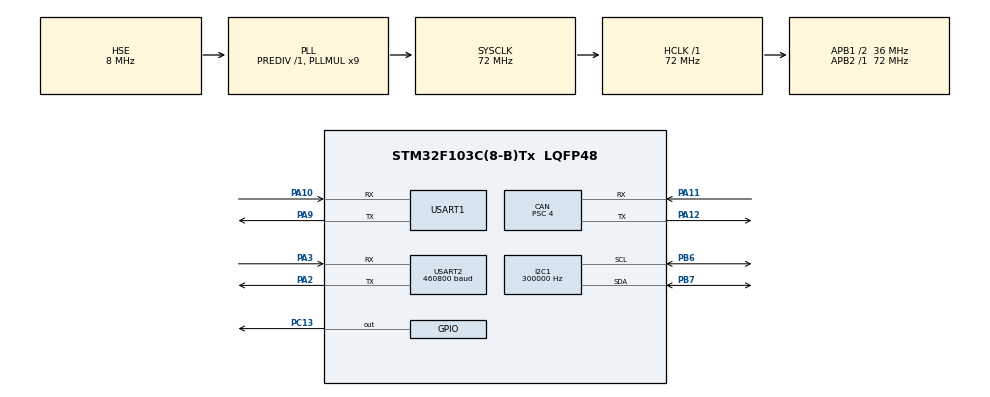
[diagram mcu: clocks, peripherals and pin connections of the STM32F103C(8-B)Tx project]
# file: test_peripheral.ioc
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CAN.BS1=CAN_BS1_15TQ
CAN.BS2=CAN_BS2_2TQ
CAN.CalculateBaudRate=500000
CAN.CalculateTimeBit=2000
CAN.CalculateTimeQuantum=111.11111111111111
CAN.Mode=CAN_MODE_NORMAL
CAN.NART=DISABLE
CAN.Prescaler=4
I2C1.ClockSpeed=300000
I2C1.I2C_Mode=I2C_Fast
Mcu.Family=STM32F1
Mcu.Name=STM32F103C(8-B)Tx
Mcu.Package=LQFP48
NVIC.CAN1_RX1_IRQn=true\:0\:0\:false\:false\:true\:true\:true\:true
NVIC.I2C1_EV_IRQn=true\:0\:0\:false\:false\:true\:true\:true\:true
NVIC.PriorityGroup=NVIC_PRIORITYGROUP_4
NVIC.USART1_IRQn=true\:14\:0\:true\:false\:true\:true\:true\:true
NVIC.USART2_IRQn=true\:0\:0\:false\:false\:true\:true\:true\:true
PA10.Mode=Asynchronous
PA10.Signal=USART1_RX
PA11.GPIO_PuPd=GPIO_NOPULL
PA11.Mode=CAN_Activate
PA11.Signal=CAN_RX
PA12.Mode=CAN_Activate
PA12.Signal=CAN_TX
PA13.Mode=Trace_Asynchronous_SW
PA13.Signal=SYS_JTMS-SWDIO
PA14.Mode=Trace_Asynchronous_SW
PA14.Signal=SYS_JTCK-SWCLK
PA2.Mode=Asynchronous
PA2.Signal=USART2_TX
PA3.Mode=Asynchronous
PA3.Signal=USART2_RX
PA9.Mode=Asynchronous
PA9.Signal=USART1_TX
PB3.Mode=Trace_Asynchronous_SW
PB3.Signal=SYS_JTDO-TRACESWO
PB6.Mode=I2C
PB6.Signal=I2C1_SCL
PB7.Mode=I2C
PB7.Signal=I2C1_SDA
PC13-TAMPER-RTC.GPIO_Speed=GPIO_SPEED_FREQ_MEDIUM
PC13-TAMPER-RTC.Signal=GPIO_Output
PD0-OSC_IN.Mode=HSE-External-Oscillator
PD0-OSC_IN.Signal=RCC_OSC_IN
PD1-OSC_OUT.Mode=HSE-External-Oscillator
PD1-OSC_OUT.Signal=RCC_OSC_OUT
ProjectManager.HeapSize=0x200
ProjectManager.StackSize=0x400
ProjectManager.TargetToolchain=STM32CubeIDE
RCC.AHBFreq_Value=72000000
RCC.APB1CLKDivider=RCC_HCLK_DIV2
RCC.APB1Freq_Value=36000000
RCC.APB1TimFreq_Value=72000000
RCC.APB2Freq_Value=72000000
RCC.APB2TimFreq_Value=72000000
RCC.HCLKFreq_Value=72000000
RCC.PLLMUL=RCC_PLL_MUL9
RCC.PLLSourceVirtual=RCC_PLLSOURCE_HSE
RCC.SYSCLKFreq_VALUE=72000000
RCC.SYSCLKSource=RCC_SYSCLKSOURCE_PLLCLK
RCC.USBFreq_Value=72000000
USART1.VirtualMode=VM_ASYNC
USART2.BaudRate=460800
USART2.VirtualMode=VM_ASYNC
board=custom

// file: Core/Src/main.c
/* USER CODE BEGIN Header */
/**
  ******************************************************************************
  * @file           : main.c
  * @brief          : Main program body
  ******************************************************************************
  * @attention
  *
  * Copyright (c) 2025 STMicroelectronics.
  * All rights reserved.
  *
  * This software is licensed under terms that can be found in the LICENSE file
  * in the root directory of this software component.
  * If no LICENSE file comes with this software, it is provided AS-IS.
  *
  ******************************************************************************
  */
/* USER CODE END Header */
#include "main.h"

/* USER CODE BEGIN Includes */
#include "stdio.h"
#include "../../app/Screen.h"

#include "../../lib/AT24Cxx.h"
#include "../../os/os.h"

#include "../../app/app_main.h"

/* USER CODE END Includes */

CAN_HandleTypeDef hcan;

I2C_HandleTypeDef hi2c1;

UART_HandleTypeDef huart1;
UART_HandleTypeDef huart2;

/* USER CODE BEGIN PV */

CAN_TxHeaderTypeDef TxHeader;
CAN_RxHeaderTypeDef RxHeader;

uint8_t TxData[8];
uint8_t RxData[8];

uint32_t TxMailbox;

uint8_t dataRX[100];
uint8_t data_output[20] ={0};
char *data_test[] = {
  "$4053"                // NAME
  "Description"          // Description
  "16"                   // Num pin
  "16"                   // Num case
  "11L1100G0001011V",
  "11L1100G0011101V",
  "11L1100G0101110V",
  "11L1100G0110111V",
  "01L1100G1001111V",
  "11L1000G1011111V",
  "10L1100G1101111V",
  "11L0100G1111111V"
};

/* USER CODE END PV */

void SystemClock_Config(void);
static void MX_GPIO_Init(void);
static void MX_USART2_UART_Init(void);
static void MX_I2C1_Init(void);
static void MX_USART1_UART_Init(void);
static void MX_CAN_Init(void);

int main(void)
{

  /* MCU Configuration--------------------------------------------------------*/

  /* Reset of all peripherals, Initializes the Flash interface and the Systick. */
  HAL_Init();

  /* Configure the system clock */
  SystemClock_Config();

  /* Initialize all configured peripherals */
  MX_GPIO_Init();
  MX_USART2_UART_Init();
  MX_I2C1_Init();
  MX_USART1_UART_Init();
  MX_CAN_Init();
  /* USER CODE BEGIN 2 */

  HAL_Delay(3000);
  HAL_UARTEx_ReceiveToIdle_IT(&huart2, dataRX, sizeof(dataRX)); // Enable interrupt UART

  Screen_begin(&huart2);

//  HAL_I2C_IsDeviceReady(&hi2c1,0x50 << 1, 1, 100);

//  uint8_t test_eeprom_buf[500] = {0};
//  uint8_t test_write_eeprom_buf[10] = {1,2,3,4,5,6,7,8,9,10};
  AT24Cxx_t pEeprom;
  AT24Cxx_Init(&pEeprom, 0x50, &hi2c1);
//  char text_program_1[] = "0";
//  char *text_program_2 = "Program test2,74hc560,20";
//  char *text_program_3 = "Program test3,74hc580,40";
//  char *text_program_4 = "Program test4,74hc590,50";
//  AT24Cxx_read_buffer(&pEeprom,0x10,test_eeprom_buf,10);
//  HAL_I2C_Mem_Write_IT(&hi2c1,(0x50 << 1),0x02,I2C_MEMADD_SIZE_16BIT,text_program_1,strlen(text_program_1));
//  char clear_buf[TOTAL_ALL_PROGRAM_TEST_LEN] = {0};
//  memset(clear_buf,0xFF,TOTAL_ALL_PROGRAM_TEST_LEN);
  // AT24Cxx_write_buffer_bloking(&pEeprom,START_MEM_ADDR_PROGRAM_TEST,(uint8_t *)clear_buf,TOTAL_ALL_PROGRAM_TEST_LEN);
  // AT24Cxx_write_buffer(&pEeprom,START_ADDR_PROGRAM_TEST_X(0),test_write_eeprom_buf,10);
  //  HAL_Delay(10);
//  AT24Cxx_read_buffer(&pEeprom,START_ADDR_PROGRAM_TEST_X(0),test_eeprom_buf,TOTAL_ONE_PROGRAM_TEST_LEN);
  // AT24Cxx_read_buffer(&pEeprom,START_MEM_ADDR_PROGRAM_TEST,test_eeprom_buf,TOTAL_ALL_PROGRAM_TEST_LEN);
  // AT24Cxx_write_buffer_bloking(&pEeprom,START_ADDR_PROGRAM_TEST_X(0),(uint8_t *)text_program_1,strlen(text_program_1));
  // HAL_Delay(10);
  // AT24Cxx_read_buffer(&pEeprom,START_MEM_ADDR_PROGRAM_TEST,test_eeprom_buf,TOTAL_ALL_PROGRAM_TEST_LEN);
  // AT24Cxx_write_buffer_bloking(&pEeprom,START_ADDR_PROGRAM_TEST_X(1),(uint8_t *)text_program_2,strlen(text_program_2));
  // HAL_Delay(10);
  // AT24Cxx_read_buffer(&pEeprom,START_MEM_ADDR_PROGRAM_TEST,test_eeprom_buf,TOTAL_ALL_PROGRAM_TEST_LEN);
  // AT24Cxx_write_buffer_bloking(&pEeprom,START_ADDR_PROGRAM_TEST_X(2),(uint8_t *)text_program_3,strlen(text_program_3));
  // HAL_Delay(10);
  // AT24Cxx_read_buffer(&pEeprom,START_MEM_ADDR_PROGRAM_TEST,test_eeprom_buf,TOTAL_ALL_PROGRAM_TEST_LEN);
  // AT24Cxx_write_buffer_bloking(&pEeprom,START_ADDR_PROGRAM_TEST_X(3),(uint8_t *)text_program_4,strlen(text_program_4));
  // HAL_Delay(10);
  // AT24Cxx_write_buffer(&pEeprom,0x02,(uint8_t *)text_program_1,strlen(text_program_1));

//  AT24Cxx_read_buffer(&pEeprom,START_MEM_ADDR_PROGRAM_TEST,test_eeprom_buf,TOTAL_ALL_PROGRAM_TEST_LEN);

// pEeprom.i2c_port = (I2C_HandleTypeDef*)0;
// pEeprom.dev_address = 0;
//  for (uint8_t i = 0; i < 5; i++) {
//    HAL_GPIO_WritePin(GPIOC,GPIO_PIN_13,GPIO_PIN_SET);
//    HAL_Delay(200);
//    HAL_GPIO_WritePin(GPIOC,GPIO_PIN_13,GPIO_PIN_RESET);
//    HAL_Delay(200);
//	printf("SWO Debug!!!\n");
//  }

 BSP_init();

 Post_task_init();
 static OS_event_t const *q_app_post[10];
 OS_task_create(AO_taskPost,
   1,
   q_app_post,
   ARRAY_ELEMENT(q_app_post),
   (OS_event_t *)0 );

 eeprom_task_init(&hi2c1,EEPROM_ADDRESS);
 static OS_event_t const *q_eeprom_event[10];
 OS_task_create( AO_task_eeprom,
   1,
   q_eeprom_event,
   ARRAY_ELEMENT(q_eeprom_event),
   (OS_event_t *)0 );

  uart_esp32_task_init(&huart1);
  static OS_event_t const *q_uart_esp32_event[10];
  OS_task_create(AO_task_uart_esp32,
  1,
  q_uart_esp32_event,
  ARRAY_ELEMENT(q_uart_esp32_event),
  (OS_event_t *)0);

  BlinkyTest_app_init();
  static OS_event_t const *TestOS_blinky[10]; /* Event queue */
  OS_task_create(
    AO_BlinkyTest,
    1,
    TestOS_blinky,
    ARRAY_ELEMENT(TestOS_blinky),
    TestOS_Work()
  );

  app_can_bus_init(&hcan);
  static OS_event_t const *Can_app_event[10];
  OS_task_create( AO_task_can_bus,
  1,
  Can_app_event,
  ARRAY_ELEMENT(Can_app_event),
  (OS_event_t *)0);

  //    uint8_t sendBuffer_3[] = {
  //   0x5A, 0xA5, 0xFB, 0x82,
  //   0x19, 0x00, 0x00, 0x02,
  //   0x00, 0x3B, 0x01, 0xED,

  //   // Clock 1
  //   0x00, 0x19, 0x01, 0x18,  0x00, 0x3C, 0x01, 0x18,
  //   0x00, 0x3C, 0x00, 0xFA,  0x00, 0x5F, 0x00, 0xFA,

  //   // Clock 2
  //   0x00, 0x5F, 0x01, 0x18,  0x00, 0x82, 0x01, 0x18,
  //   0x00, 0x82, 0x00, 0xFA,  0x00, 0xA5, 0x00, 0xFA,

  //   // Clock 3
  //   0x00, 0xA5, 0x01, 0x18,  0x00, 0xC8, 0x01, 0x18,
  //   0x00, 0xC8, 0x00, 0xFA,  0x00, 0xEB, 0x00, 0xFA,

  //   // Clock 4
  //   0x00, 0xEB, 0x01, 0x18,  0x01, 0x0E, 0x01, 0x18,
  //   0x01, 0x0E, 0x00, 0xFA,  0x01, 0x31, 0x00, 0xFA,

  //   // Clock 5
  //   0x01, 0x31, 0x01, 0x18,  0x01, 0x54, 0x01, 0x18,
  //   0x01, 0x54, 0x00, 0xFA,  0x01, 0x77, 0x00, 0xFA,

  //   // Clock 6
  //   0x01, 0x77, 0x01, 0x18,  0x01, 0x9A, 0x01, 0x18,
  //   0x01, 0x9A, 0x00, 0xFA,  0x01, 0xBD, 0x00, 0xFA,

  //   // Clock 7
  //   0x01, 0xBD, 0x01, 0x18,  0x01, 0xE0, 0x01, 0x18,
  //   0x01, 0xE0, 0x00, 0xFA,  0x02, 0x03, 0x00, 0xFA,

  //   // Clock 8
  //   0x02, 0x03, 0x01, 0x18,  0x02, 0x26, 0x01, 0x18,
  //   0x02, 0x26, 0x00, 0xFA,  0x02, 0x49, 0x00, 0xFA,

  //   // Clock 9
  //   0x02, 0x49, 0x01, 0x18,  0x02, 0x6C, 0x01, 0x18,
  //   0x02, 0x6C, 0x00, 0xFA,  0x02, 0x8F, 0x00, 0xFA,

  //   // Clock 10
  //   0x02, 0x8F, 0x01, 0x18,  0x02, 0xB2, 0x01, 0x18,
  //   0x02, 0xB2, 0x00, 0xFA,  0x02, 0xD5, 0x00, 0xFA,

  //   // Clock 11
  //   0x02, 0xD5, 0x01, 0x18,  0x02, 0xF8, 0x01, 0x18,
  //   0x02, 0xF8, 0x00, 0xFA,  0x03, 0x1B, 0x00, 0xFA,

  //   // Clock 12
  //   0x03, 0x1B, 0x01, 0x18,  0x03, 0x3E, 0x01, 0x18,
  //   0x03, 0x3E, 0x00, 0xFA,  0x03, 0x61, 0x00, 0xFA,

  //   // Clock 13
  //   0x03, 0x61, 0x01, 0x18,  0x03, 0x84, 0x01, 0x18,
  //   0x03, 0x84, 0x00, 0xFA,  0x03, 0xA7, 0x00, 0xFA,

  //   // Clock 14
  //   0x03, 0xA7, 0x01, 0x18,  0x03, 0xCA, 0x01, 0x18,
  //   0x03, 0xCA, 0x00, 0xFA,  0x03, 0xED, 0x00, 0xFA,

  //   // Clock 15
  //   0x03, 0xED, 0x01, 0x18,  0x04, 0x10, 0x01, 0x18,
  //   0x04, 0x10, 0x00, 0xFA,  0x04, 0x33, 0x00, 0xFA,

  //   0xFF, 0x00};

  //  HAL_UART_Transmit(&huart2,sendBuffer_3,sizeof(sendBuffer_3),500);
//  for (uint8_t i=0; i < 6; i++) {
//  			  HAL_GPIO_TogglePin(GPIOB, GPIO_PIN_2);
//  			  HAL_Delay(500);
//  		  }
  HAL_CAN_Start(&hcan);

  TxHeader.DLC = 5;
  TxHeader.StdId = 0x103;
  TxHeader.IDE = CAN_ID_STD;
  TxHeader.RTR = CAN_RTR_DATA;

  uint8_t data_tx[5] = {'H','E','L','L','O'};

  HAL_CAN_ActivateNotification(&hcan, CAN_IT_RX_FIFO1_MSG_PENDING);

     //HAL_CAN_AddTxMessage(&hcan,&TxHeader, data_tx, &TxMailbox);

  // TxHeader.DLC = 2; // data length
  // TxHeader.IDE = CAN_ID_STD;
  // TxHeader.RTR = CAN_RTR_DATA;
  // TxHeader.StdId = 0x407;

	// TxData[0] = 50;
	// TxData[1] = 55;

	// Send data
	// HAL_CAN_AddTxMessage(&hcan, &TxHeader, TxData, &TxMailbox);

  /* USER CODE END 2 */

  /* Infinite loop */
  while (1)
  {

    /* USER CODE BEGIN 3 */
	     //HAL_CAN_AddTxMessage(&hcan,&TxHeader, data_tx, &TxMailbox);
	     //HAL_Delay(2000);
	  // if( datacheck ) {
		//   for (uint8_t i=0; i < RxData[1]; i++) {
		// 	  HAL_GPIO_TogglePin(GPIOB, GPIO_PIN_2);
		// 	  HAL_Delay(RxData[0]);
		//   }
		//   datacheck = 0;

		//   TxData[0] = RxData[0];
		//   TxData[1] = RxData[1];

		//   HAL_CAN_AddTxMessage(&hcan, &TxHeader, TxData, &TxMailbox);
	  // }
  //  uint8_t sendBuffer[] = {0x5A, 0xA5, 0x13, 0x82, 0x19, 0x00, 0x00, 0x04, 0x00, 0x01,
  //               0x00, 0x64, 0x00, 0x96, // 100;150
  //               0x00, 0x82, 0x01, 0x2C, // 130;300
  //               0xF8, 0x00, 0xFF, 0x00};
  // HAL_UART_Transmit(&huart2,sendBuffer,sizeof(sendBuffer),500);
  // HAL_Delay(500);
  //  uint8_t sendBuffer_1[100] = {0x5A, 0xA5, 0x13, 0x82, 0x19, 0x00, 0x00, 0x04, 0x00, 0x01,
  //               0x00, 0x64, 0x00, 0xB4, // 100;180
  //               0x00, 0x82, 0x01, 0x2C, // 130;300
  //               0xF8, 0x00, 0xFF, 0x00};
  // HAL_UART_Transmit(&huart2,sendBuffer_1,sizeof(sendBuffer_1),500);
  // HAL_Delay(500);
  //  uint8_t sendBuffer_2[100] = {0x5A, 0xA5, 0x13, 0x82, 0x19, 0x00, 0x00, 0x04, 0x00, 0x01,
  //             0x00, 0x64, 0x00, 0xD2, // 100;210
  //             0x00, 0x82, 0x01, 0x2C, // 130;300
  //             0xF8, 0x00, 0xFF, 0x00};
  // HAL_UART_Transmit(&huart2,sendBuffer_2,sizeof(sendBuffer_2),500);
  // HAL_Delay(500);
  //  uint8_t sendBuffer_3[100] = {0x5A, 0xA5, 0x13, 0x82, 0x19, 0x00, 0x00, 0x04, 0x00, 0x01,
  //           0x00, 0x64, 0x00, 0xF0, // 100;240
  //           0x00, 0x82, 0x01, 0x2C, // 130;300
  //           0xF8, 0x00, 0xFF, 0x00};
  // HAL_UART_Transmit(&huart2,sendBuffer_3,sizeof(sendBuffer_3),500);
  // HAL_Delay(500);

  }
  /* USER CODE END 3 */
}

void SystemClock_Config(void)
{
  RCC_OscInitTypeDef RCC_OscInitStruct = {0};
  RCC_ClkInitTypeDef RCC_ClkInitStruct = {0};

  /** Initializes the RCC Oscillators according to the specified parameters
  * in the RCC_OscInitTypeDef structure.
  */
  RCC_OscInitStruct.OscillatorType = RCC_OSCILLATORTYPE_HSE;
  RCC_OscInitStruct.HSEState = RCC_HSE_ON;
  RCC_OscInitStruct.HSEPredivValue = RCC_HSE_PREDIV_DIV1;
  RCC_OscInitStruct.HSIState = RCC_HSI_ON;
  RCC_OscInitStruct.PLL.PLLState = RCC_PLL_ON;
  RCC_OscInitStruct.PLL.PLLSource = RCC_PLLSOURCE_HSE;
  RCC_OscInitStruct.PLL.PLLMUL = RCC_PLL_MUL9;
  if (HAL_RCC_OscConfig(&RCC_OscInitStruct) != HAL_OK)
  {
    Error_Handler();
  }

  /** Initializes the CPU, AHB and APB buses clocks
  */
  RCC_ClkInitStruct.ClockType = RCC_CLOCKTYPE_HCLK|RCC_CLOCKTYPE_SYSCLK
                              |RCC_CLOCKTYPE_PCLK1|RCC_CLOCKTYPE_PCLK2;
  RCC_ClkInitStruct.SYSCLKSource = RCC_SYSCLKSOURCE_PLLCLK;
  RCC_ClkInitStruct.AHBCLKDivider = RCC_SYSCLK_DIV1;
  RCC_ClkInitStruct.APB1CLKDivider = RCC_HCLK_DIV2;
  RCC_ClkInitStruct.APB2CLKDivider = RCC_HCLK_DIV1;

  if (HAL_RCC_ClockConfig(&RCC_ClkInitStruct, FLASH_LATENCY_2) != HAL_OK)
  {
    Error_Handler();
  }
}

static void MX_CAN_Init(void)
{

  hcan.Instance = CAN1;
  hcan.Init.Prescaler = 4;
  hcan.Init.Mode = CAN_MODE_NORMAL;
  hcan.Init.SyncJumpWidth = CAN_SJW_1TQ;
  hcan.Init.TimeSeg1 = CAN_BS1_15TQ;
  hcan.Init.TimeSeg2 = CAN_BS2_2TQ;
  hcan.Init.TimeTriggeredMode = DISABLE;
  hcan.Init.AutoBusOff = DISABLE;
  hcan.Init.AutoWakeUp = DISABLE;
  hcan.Init.AutoRetransmission = DISABLE;
  hcan.Init.ReceiveFifoLocked = DISABLE;
  hcan.Init.TransmitFifoPriority = DISABLE;
  if (HAL_CAN_Init(&hcan) != HAL_OK)
  {
    Error_Handler();
  }
  /* USER CODE BEGIN CAN_Init 2 */
  CAN_FilterTypeDef canfilterconfig;

    canfilterconfig.FilterActivation = CAN_FILTER_ENABLE;
    canfilterconfig.FilterBank = 10;  // which filter bank to use from the assigned ones
    canfilterconfig.FilterFIFOAssignment = CAN_FILTER_FIFO1;
    canfilterconfig.FilterIdHigh = 0x103<<5;
    canfilterconfig.FilterIdLow = 0;
    canfilterconfig.FilterMaskIdHigh = 0;
    canfilterconfig.FilterMaskIdLow = 0;
    canfilterconfig.FilterMode = CAN_FILTERMODE_IDMASK;
    canfilterconfig.FilterScale = CAN_FILTERSCALE_32BIT;
    canfilterconfig.SlaveStartFilterBank = 0;

    HAL_CAN_ConfigFilter(&hcan, &canfilterconfig);
  /* USER CODE END CAN_Init 2 */

}

static void MX_I2C1_Init(void)
{

  hi2c1.Instance = I2C1;
  hi2c1.Init.ClockSpeed = 300000;
  hi2c1.Init.DutyCycle = I2C_DUTYCYCLE_2;
  hi2c1.Init.OwnAddress1 = 0;
  hi2c1.Init.AddressingMode = I2C_ADDRESSINGMODE_7BIT;
  hi2c1.Init.DualAddressMode = I2C_DUALADDRESS_DISABLE;
  hi2c1.Init.OwnAddress2 = 0;
  hi2c1.Init.GeneralCallMode = I2C_GENERALCALL_DISABLE;
  hi2c1.Init.NoStretchMode = I2C_NOSTRETCH_DISABLE;
  if (HAL_I2C_Init(&hi2c1) != HAL_OK)
  {
    Error_Handler();
  }

}

static void MX_USART1_UART_Init(void)
{

  huart1.Instance = USART1;
  huart1.Init.BaudRate = 115200;
  huart1.Init.WordLength = UART_WORDLENGTH_8B;
  huart1.Init.StopBits = UART_STOPBITS_1;
  huart1.Init.Parity = UART_PARITY_NONE;
  huart1.Init.Mode = UART_MODE_TX_RX;
  huart1.Init.HwFlowCtl = UART_HWCONTROL_NONE;
  huart1.Init.OverSampling = UART_OVERSAMPLING_16;
  if (HAL_UART_Init(&huart1) != HAL_OK)
  {
    Error_Handler();
  }

}

static void MX_USART2_UART_Init(void)
{

  huart2.Instance = USART2;
  huart2.Init.BaudRate = 460800;
  huart2.Init.WordLength = UART_WORDLENGTH_8B;
  huart2.Init.StopBits = UART_STOPBITS_1;
  huart2.Init.Parity = UART_PARITY_NONE;
  huart2.Init.Mode = UART_MODE_TX_RX;
  huart2.Init.HwFlowCtl = UART_HWCONTROL_NONE;
  huart2.Init.OverSampling = UART_OVERSAMPLING_16;
  if (HAL_UART_Init(&huart2) != HAL_OK)
  {
    Error_Handler();
  }

}

static void MX_GPIO_Init(void)
{
  GPIO_InitTypeDef GPIO_InitStruct = {0};

  /* GPIO Ports Clock Enable */
  __HAL_RCC_GPIOC_CLK_ENABLE();
  __HAL_RCC_GPIOD_CLK_ENABLE();
  __HAL_RCC_GPIOA_CLK_ENABLE();
  __HAL_RCC_GPIOB_CLK_ENABLE();

  /*Configure GPIO pin Output Level */
  HAL_GPIO_WritePin(GPIOC, GPIO_PIN_13, GPIO_PIN_RESET);

  /*Configure GPIO pin : PC13 */
  GPIO_InitStruct.Pin = GPIO_PIN_13;
  GPIO_InitStruct.Mode = GPIO_MODE_OUTPUT_PP;
  GPIO_InitStruct.Pull = GPIO_NOPULL;
  GPIO_InitStruct.Speed = GPIO_SPEED_FREQ_MEDIUM;
  HAL_GPIO_Init(GPIOC, &GPIO_InitStruct);

}

/* USER CODE BEGIN 4 */

void HAL_UARTEx_RxEventCallback(UART_HandleTypeDef *huart, uint16_t Size) {
	if( huart->Instance == huart2.Instance ) {

		// Call to callback function screen
		Screen_RX_data(dataRX);

		// Clear RX Buffer
		memset(dataRX,0,sizeof(dataRX));

		// Enable Interrupt UART again
		HAL_UARTEx_ReceiveToIdle_IT(&huart2, dataRX, sizeof(dataRX)); // Enable interrupt UART
	}
}

void HAL_I2C_MemTxCpltCallback(I2C_HandleTypeDef *hi2c) {
	if (hi2c->Instance == hi2c1.Instance) {

	}
  /* Transmit complete wait eeprom write */
  OS_task_post_event(AO_task_eeprom, WAIT_WRITE_TIMEOUT, (uint8_t *)0, 0);
}

void HAL_CAN_RxFifo1MsgPendingCallback(CAN_HandleTypeDef *hcan) {
	HAL_CAN_GetRxMessage(hcan, CAN_RX_FIFO1, &RxHeader, RxData);
}

int _write(int file, char *ptr, int len) {
    for (int i = 0; i < len; i++) {
        ITM_SendChar(ptr[i]);
    }
    return len;
}

/* USER CODE END 4 */

void Error_Handler(void)
{
  __disable_irq();
  while (1)
  {
  }
}
